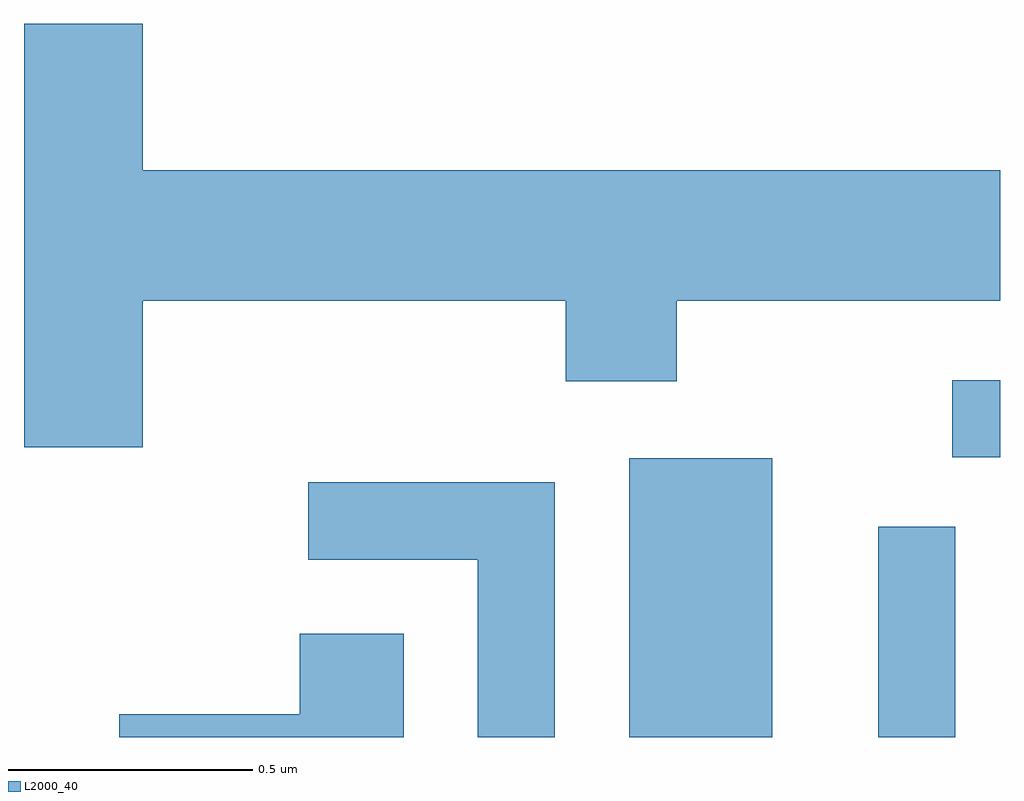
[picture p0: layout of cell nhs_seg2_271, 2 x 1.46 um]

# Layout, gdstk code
import gdstk
lib = gdstk.Library(unit=1e-6, precision=1e-09)
def R(c, l, rs):  # rectangles x0, y0, x1, y1
    for r in rs: c.add(gdstk.rectangle(r[:2], r[2:], *l))
def P(c, l, *ps):  # polygons
    for p in ps: c.add(gdstk.Polygon(p, *l))
L2000_40 = (2000, 40)

nhs_seg2_271 = lib.new_cell('nhs_seg2_271')
R(nhs_seg2_271, L2000_40, [(187.851,1111.802,188.144,1112.374), (188.361,1111.802,188.519,1112.233), (188.513,1112.376,188.611,1112.534)])
P(nhs_seg2_271, L2000_40, [(186.854,1112.696),(187.721,1112.696),(187.721,1112.531),(187.949,1112.531),(187.949,1112.696),(188.611,1112.696),(188.611,1112.964),(186.854,1112.964),(186.854,1113.264),(186.611,1113.264),(186.611,1112.396),(186.854,1112.396)],
  [(187.699,1112.324),(187.193,1112.324),(187.193,1112.166),(187.541,1112.166),(187.541,1111.802),(187.699,1111.802)],
  [(187.389,1112.014),(187.176,1112.014),(187.176,1111.849),(186.806,1111.849),(186.806,1111.802),(187.389,1111.802)])

lib.write_gds('nhs_seg2_271.gds')
